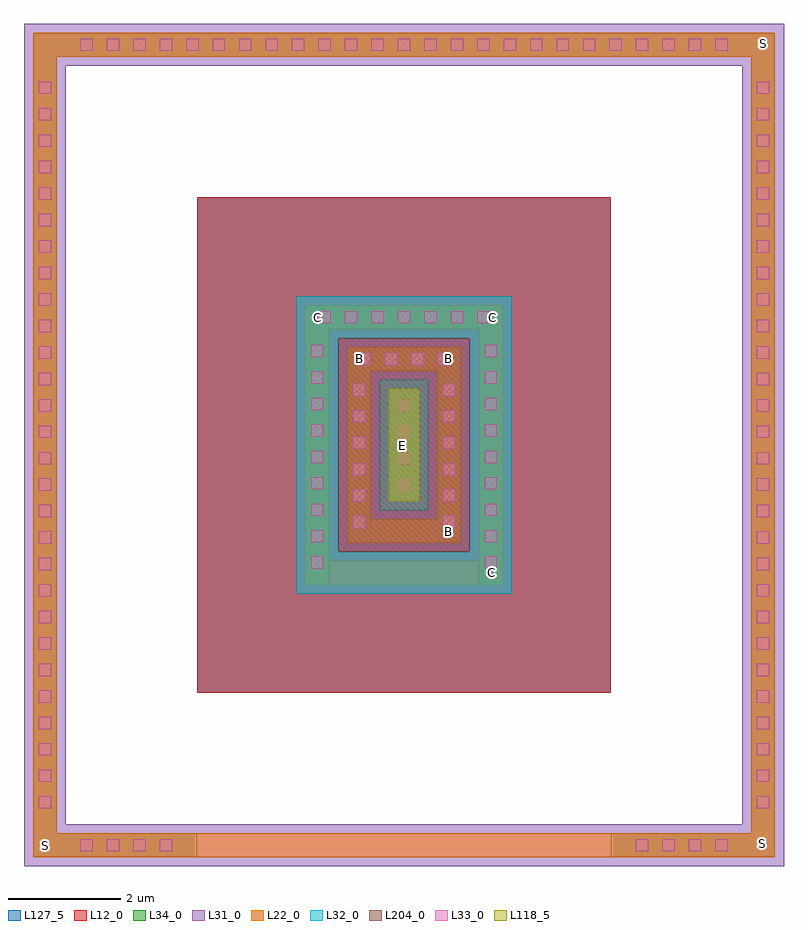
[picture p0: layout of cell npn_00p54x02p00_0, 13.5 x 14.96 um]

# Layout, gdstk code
import gdstk
lib = gdstk.Library(unit=1e-6, precision=1e-09)
def R(c, l, rs):  # rectangles x0, y0, x1, y1
    for r in rs: c.add(gdstk.rectangle(r[:2], r[2:], *l))
def A(c, l, x, y, w, h, nx, ny, dx, dy):  # array of equal rectangles
    R(c, l, [(x+i*dx, y+j*dy, x+i*dx+w, y+j*dy+h) for i in range(nx) for j in range(ny)])
def P(c, l, *ps):  # polygons
    for p in ps: c.add(gdstk.Polygon(p, *l))
L12_0 = (12, 0)
L22_0 = (22, 0)
L31_0 = (31, 0)
L32_0 = (32, 0)
L33_0 = (33, 0)
L34_0 = (34, 0)
L118_5 = (118, 5)
L127_5 = (127, 5)
L204_0 = (204, 0)

npn_00p54x02p00_0 = lib.new_cell('npn_00p54x02p00_0')
R(npn_00p54x02p00_0, L12_0, [(-3.4,-3.4,3.94,5.4)])
R(npn_00p54x02p00_0, L22_0, [(0,0,0.54,2)])
P(npn_00p54x02p00_0, L22_0, [(-0.74,-0.74),(-0.74,2.74),(0.86,2.74),(0.86,2.32),(-0.32,2.32),(-0.32,-0.32),(0.86,-0.32),(0.86,2.74),(1.28,2.74),(1.28,-0.74)],
  [(-1.48,-1.48),(-1.48,3.48),(1.6,3.48),(1.6,3.06),(-1.06,3.06),(-1.06,-1.06),(1.6,-1.06),(1.6,3.48),(2.02,3.48),(2.02,-1.48)],
  [(-6.32,-6.32),(-6.32,8.32),(6.44,8.32),(6.44,7.9),(-5.9,7.9),(-5.9,-5.9),(6.44,-5.9),(6.44,8.32),(6.86,8.32),(6.86,-6.32)])
P(npn_00p54x02p00_0, L31_0, [(-0.9,-0.9),(-0.9,2.9),(0.7,2.9),(0.7,2.16),(-0.16,2.16),(-0.16,-0.16),(0.7,-0.16),(0.7,2.9),(1.44,2.9),(1.44,-0.9)],
  [(-6.48,-6.48),(-6.48,8.48),(6.28,8.48),(6.28,7.74),(-5.74,7.74),(-5.74,-5.74),(6.28,-5.74),(6.28,8.48),(7.02,8.48),(7.02,-6.48)])
R(npn_00p54x02p00_0, L32_0, [(-0.16,-0.16,0.7,2.16)])
P(npn_00p54x02p00_0, L32_0, [(-1.64,-1.64),(-1.64,3.64),(1.44,3.64),(1.44,2.9),(-0.9,2.9),(-0.9,-0.9),(1.44,-0.9),(1.44,3.64),(2.18,3.64),(2.18,-1.64)])
A(npn_00p54x02p00_0, L33_0, -5.48, -6.22, 0.22, 0.22, 4, 1, 0.47, 0)
A(npn_00p54x02p00_0, L33_0, 4.39, -6.22, 0.22, 0.22, 4, 1, 0.47, 0)
A(npn_00p54x02p00_0, L33_0, -6.22, -5.455, 0.22, 0.22, 1, 28, 0, 0.47)
A(npn_00p54x02p00_0, L33_0, 6.54, -5.455, 0.22, 0.22, 1, 28, 0, 0.47)
A(npn_00p54x02p00_0, L33_0, -1.38, -1.2, 0.22, 0.22, 1, 9, 0, 0.47)
A(npn_00p54x02p00_0, L33_0, 1.7, -1.2, 0.22, 0.22, 1, 9, 0, 0.47)
A(npn_00p54x02p00_0, L33_0, -0.64, -0.48, 0.22, 0.22, 1, 6, 0, 0.47)
A(npn_00p54x02p00_0, L33_0, 0.96, -0.48, 0.22, 0.22, 1, 6, 0, 0.47)
A(npn_00p54x02p00_0, L33_0, 0.16, 0.18, 0.22, 0.22, 1, 4, 0, 0.47)
A(npn_00p54x02p00_0, L33_0, -0.54, 2.42, 0.22, 0.22, 4, 1, 0.47, 0)
A(npn_00p54x02p00_0, L33_0, -1.25, 3.16, 0.22, 0.22, 7, 1, 0.47, 0)
A(npn_00p54x02p00_0, L33_0, -5.48, 8, 0.22, 0.22, 25, 1, 0.47, 0)
R(npn_00p54x02p00_0, L34_0, [(-6.32,-6.32,-5.9,8.32), (-6.32,-6.32,-3.4,-5.9), (3.94,-6.32,6.86,-5.9), (6.44,-6.32,6.86,8.32), (-1.48,-1.48,-1.06,3.48), (-1.48,-1.48,-1.06,3.06), (1.6,-1.48,2.02,3.48), (1.6,-1.48,2.02,3.06), (-0.74,-0.74,-0.32,2.74), (-0.74,-0.74,-0.32,2.32), (0.86,-0.74,1.28,2.74), (0.86,-0.74,1.28,2.32), (0,0,0.54,2), (0,0,0.54,2), (-0.74,2.32,1.28,2.74), (-0.74,2.32,1.28,2.74), (-1.48,3.06,2.02,3.48), (-1.48,3.06,2.02,3.48), (-6.32,7.9,6.86,8.32)])
P(npn_00p54x02p00_0, L34_0, [(3.94,-6.32),(3.94,-5.9),(6.44,-5.9),(6.44,8.32),(6.86,8.32),(6.86,-6.32)],
  [(-6.32,-6.32),(-6.32,8.32),(6.44,8.32),(6.44,7.9),(-5.9,7.9),(-5.9,-5.9),(-3.4,-5.9),(-3.4,-6.32)])
R(npn_00p54x02p00_0, L118_5, [(0,0,0.54,2)])
R(npn_00p54x02p00_0, L127_5, [(-3.4,-3.4,3.94,5.4)])
R(npn_00p54x02p00_0, L204_0, [(-0.9,-0.9,1.44,2.9)])
npn_00p54x02p00_0.add(gdstk.Label('E', (0.25,0.995), layer=34, texttype=0))
npn_00p54x02p00_0.add(gdstk.Label('B', (-0.52,2.53), layer=34, texttype=0))
npn_00p54x02p00_0.add(gdstk.Label('B', (1.055,-0.53), layer=34, texttype=0))
npn_00p54x02p00_0.add(gdstk.Label('B', (1.06,2.535), layer=34, texttype=0))
npn_00p54x02p00_0.add(gdstk.Label('C', (-1.275,3.27), layer=34, texttype=0))
npn_00p54x02p00_0.add(gdstk.Label('C', (1.825,-1.265), layer=34, texttype=0))
npn_00p54x02p00_0.add(gdstk.Label('C', (1.835,3.26), layer=34, texttype=0))
npn_00p54x02p00_0.add(gdstk.Label('S', (-6.09,-6.115), layer=34, texttype=0))
npn_00p54x02p00_0.add(gdstk.Label('S', (-6.09,-6.115), layer=34, texttype=0))
npn_00p54x02p00_0.add(gdstk.Label('S', (6.635,-6.07), layer=34, texttype=0))
npn_00p54x02p00_0.add(gdstk.Label('S', (6.635,-6.07), layer=34, texttype=0))
npn_00p54x02p00_0.add(gdstk.Label('S', (6.655,8.135), layer=34, texttype=0))

lib.write_gds('npn_00p54x02p00_0.gds')
